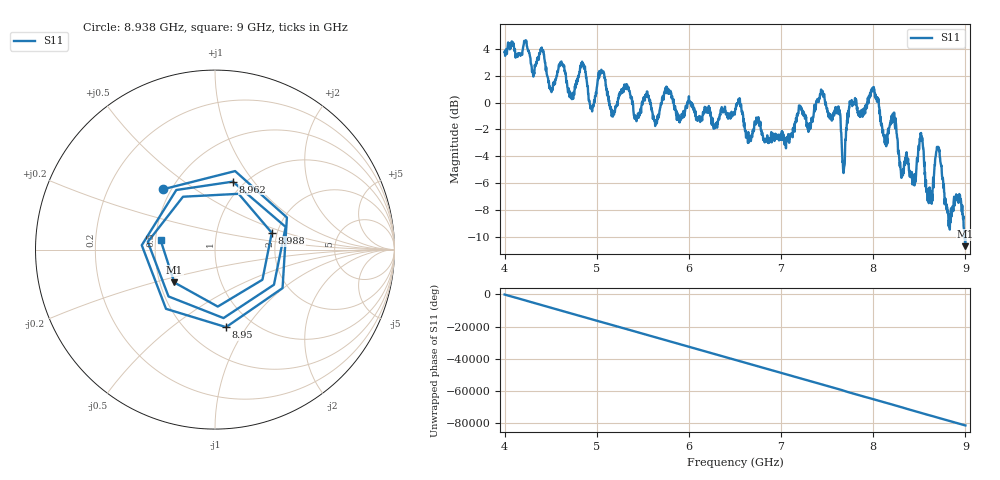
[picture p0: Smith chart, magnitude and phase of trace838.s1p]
! Created with skrf 1.8.0 (http://scikit-rf.org).
# Hz S RI R 50.0
!freq ReS11 ImS11
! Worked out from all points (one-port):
!   1601 points, 4 GHz to 9 GHz, reference 50 ohm
!   lowest |S11| = -10.7 dB at 8.997 GHz (marker M1), VSWR 1.82, Z = 29.7 - j11.9 ohm
!   |S11| at or under -10 dB: 8.990427 GHz to 8.992977 GHz (2.55 MHz wide, 0.0284 % of centre); 8.99418 GHz to end of sweep
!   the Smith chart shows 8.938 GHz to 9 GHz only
!   S11 on the Smith chart (normalised r, x): 8.938 GHz: 0.45, +0.38; 8.95 GHz: 0.76, -0.81; 8.962 GHz: 0.89, +0.79; 8.988 GHz: 1.87, +0.39; 9 GHz: 0.53, +0.06
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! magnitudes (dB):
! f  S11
! 4 GHz  3.8
! 4.506 GHz  0.9
! 4.625 GHz  2.9
! 4.731 GHz  0.3
! 4.856 GHz  2.8
! 4.941 GHz  -0.4
! 5.053 GHz  2.3
! 5.162 GHz  -1.0
! 5.25 GHz  0.8
! 5.875 GHz  -0.8
! 6.5 GHz  -0.7
! 7.125 GHz  -2.6
! 7.447 GHz  0.7
! 7.622 GHz  -0.3
! 7.678 GHz  -5.3
! 7.75 GHz  -0.1
! 8 GHz  0.9
! 8.375 GHz  -4.4
! 8.522 GHz  -2.7
! 8.616 GHz  -7.0
! 8.7 GHz  -3.4
! 8.816 GHz  -8.8
! 8.938 GHz  -7.0
! 8.95 GHz  -7.2
! 8.962 GHz  -8.1
! 8.988 GHz  -9.6
! 8.997 GHz  -10.7
! 9 GHz  -10.2
